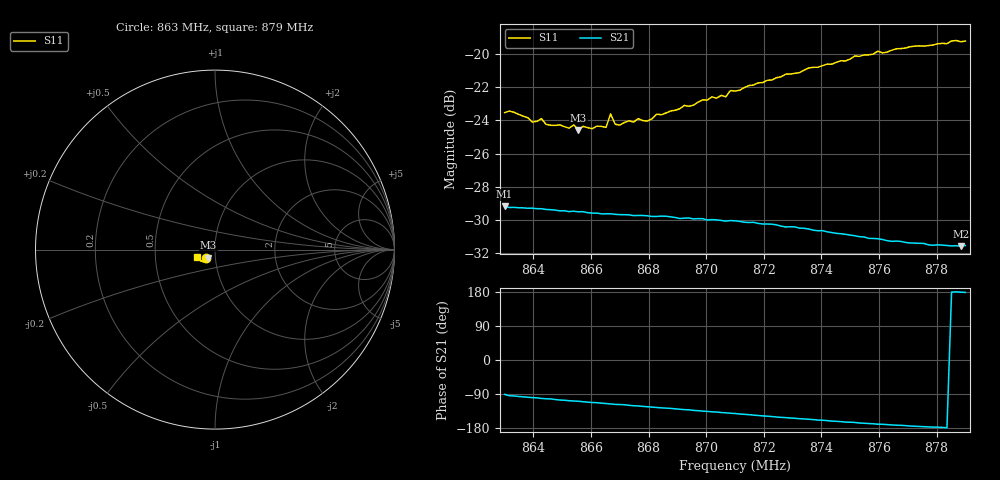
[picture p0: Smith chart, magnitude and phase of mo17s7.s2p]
# HZ S RI R 50
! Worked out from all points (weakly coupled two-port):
!   101 points, 863 MHz to 879 MHz, reference 50 ohm
!   highest |S21| = -29.16 dB at 863 MHz (marker M1); lowest = -31.6 dB at 878.84 MHz (marker M2)
!   lowest |S11| = -24.6 dB at 865.56 MHz (marker M3), VSWR 1.13, Z = 46.2 - j4.22 ohm
!   |S11| at or under -10 dB: start of sweep to end of sweep
!   S12 and S22 are empty: the file has one direction only
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8.63e8  -0.0476 -0.0465  -0.000357 -0.0348  0 0  0 0
8.6332e8  -0.0486 -0.0457  -0.00296 -0.0344  0 0  0 0
8.6396e8  -0.0443 -0.0439  -0.00556 -0.0339  0 0  0 0
8.6428e8  -0.0437 -0.0465  -0.00676 -0.0336  0 0  0 0
8.6444e8  -0.0419 -0.0448  -0.00726 -0.0333  0 0  0 0
8.6524e8  -0.0408 -0.0437  -0.0101 -0.032  0 0  0 0
8.654e8  -0.0395 -0.0466  -0.0105 -0.032  0 0  0 0
8.6556e8  -0.0376 -0.0455  -0.0108 -0.0317  0 0  0 0
8.6572e8  -0.0375 -0.0475  -0.0115 -0.0315  0 0  0 0
8.6652e8  -0.0348 -0.049  -0.0139 -0.03  0 0  0 0
8.6668e8  -0.0416 -0.0512  -0.0145 -0.0297  0 0  0 0
8.6684e8  -0.035 -0.0505  -0.015 -0.0293  0 0  0 0
8.67e8  -0.035 -0.05  -0.0152 -0.0291  0 0  0 0
8.6844e8  -0.0348 -0.0556  -0.0192 -0.0262  0 0  0 0
8.702e8  -0.0393 -0.063  -0.0231 -0.0218  0 0  0 0
8.7068e8  -0.0398 -0.0627  -0.0238 -0.0204  0 0  0 0
8.7084e8  -0.0432 -0.0645  -0.0243 -0.0201  0 0  0 0
8.71e8  -0.0425 -0.0646  -0.0245 -0.0197  0 0  0 0
8.7372e8  -0.0596 -0.0689  -0.0272 -0.0114  0 0  0 0
8.7644e8  -0.0839 -0.059  -0.027 -0.00409  0 0  0 0
8.7884e8  -0.1007 -0.041  -0.0264 0.00044  0 0  0 0
8.79e8  -0.102 -0.0392  -0.0265 0.000802  0 0  0 0
